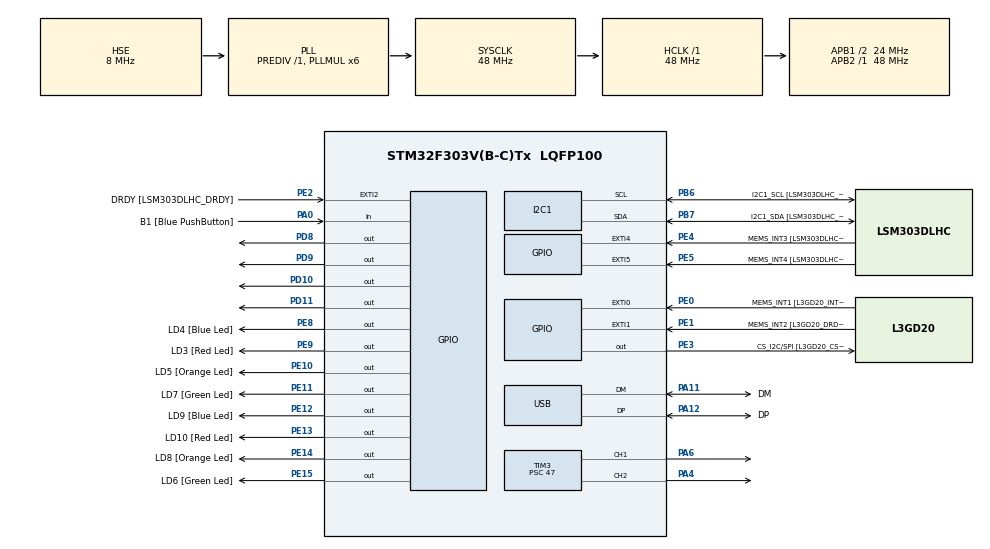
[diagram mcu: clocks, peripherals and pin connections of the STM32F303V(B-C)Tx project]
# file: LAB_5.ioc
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I2C1.Timing=0x2000090E
I2C1.Timing-I2C=0x2000090E
Mcu.Family=STM32F3
Mcu.Name=STM32F303V(B-C)Tx
Mcu.Package=LQFP100
NVIC.PriorityGroup=NVIC_PRIORITYGROUP_0
PA0.GPIO_Label=B1 [Blue PushButton]
PA0.Signal=GPIO_Input
PA11.GPIO_Label=DM
PA11.Mode=Device
PA11.Signal=USB_DM
PA12.GPIO_Label=DP
PA12.Mode=Device
PA12.Signal=USB_DP
PA13.GPIO_Label=SWDIO
PA13.Mode=Serial_Wire
PA13.Signal=SYS_JTMS-SWDIO
PA14.GPIO_Label=SWCLK
PA14.Mode=Serial_Wire
PA14.Signal=SYS_JTCK-SWCLK
PA4.Signal=S_TIM3_CH2
PA5.GPIO_Label=SPI1_SCK [L3GD20_SCL/SPC]
PA5.Signal=SPI1_SCK
PA6.Signal=S_TIM3_CH1
PA7.GPIO_Label=SPI1_MISO [L3GD20_SDA/SDI/SDO]
PA7.Signal=SPI1_MOSI
PB3.GPIO_Label=SWO
PB3.Signal=SYS_JTDO-TRACESWO
PB6.GPIO_Label=I2C1_SCL [LSM303DLHC_SCL]
PB6.GPIO_Pu=GPIO_PULLUP
PB6.Mode=I2C
PB6.Signal=I2C1_SCL
PB7.GPIO_Label=I2C1_SDA [LSM303DLHC_SDA]
PB7.GPIO_Pu=GPIO_PULLUP
PB7.Mode=I2C
PB7.Signal=I2C1_SDA
PC14-OSC32_IN.GPIO_Label=OSC32_IN
PC14-OSC32_IN.Signal=RCC_OSC32_IN
PC15-OSC32_OUT.GPIO_Label=OSC32_OUT
PC15-OSC32_OUT.Signal=RCC_OSC32_OUT
PD10.Signal=GPIO_Output
PD11.Signal=GPIO_Output
PD8.Signal=GPIO_Output
PD9.Signal=GPIO_Output
PE0.GPIO_Label=MEMS_INT1 [L3GD20_INT1]
PE0.GPIO_ModeDefaultEXTI=GPIO_MODE_EVT_RISING
PE0.Signal=GPXTI0
PE1.GPIO_Label=MEMS_INT2 [L3GD20_DRDY/INT2]
PE1.GPIO_ModeDefaultEXTI=GPIO_MODE_EVT_RISING
PE1.Signal=GPXTI1
PE10.GPIO_Label=LD5 [Orange Led]
PE10.Signal=GPIO_Output
PE11.GPIO_Label=LD7 [Green Led]
PE11.Signal=GPIO_Output
PE12.GPIO_Label=LD9 [Blue Led]
PE12.Signal=GPIO_Output
PE13.GPIO_Label=LD10 [Red Led]
PE13.Signal=GPIO_Output
PE14.GPIO_Label=LD8 [Orange Led]
PE14.Signal=GPIO_Output
PE15.GPIO_Label=LD6 [Green Led]
PE15.Signal=GPIO_Output
PE2.GPIO_Label=DRDY [LSM303DLHC_DRDY]
PE2.GPIO_ModeDefaultEXTI=GPIO_MODE_EVT_RISING
PE2.Signal=GPXTI2
PE3.GPIO_Label=CS_I2C/SPI [L3GD20_CS_I2C/SPI]
PE3.Signal=GPIO_Output
PE4.GPIO_Label=MEMS_INT3 [LSM303DLHC_INT1]
PE4.GPIO_ModeDefaultEXTI=GPIO_MODE_EVT_RISING
PE4.Signal=GPXTI4
PE5.GPIO_Label=MEMS_INT4 [LSM303DLHC_INT2]
PE5.GPIO_ModeDefaultEXTI=GPIO_MODE_EVT_RISING
PE5.Signal=GPXTI5
PE8.GPIO_Label=LD4 [Blue Led]
PE8.Signal=GPIO_Output
PE9.GPIO_Label=LD3 [Red Led]
PE9.Signal=GPIO_Output
PF0-OSC_IN.GPIO_Label=OSC_IN
PF0-OSC_IN.Mode=HSE-External-Clock-Source
PF0-OSC_IN.Signal=RCC_OSC_IN
PF1-OSC_OUT.GPIO_Label=OSC_OUT
PF1-OSC_OUT.Signal=RCC_OSC_OUT
ProjectManager.HeapSize=0x200
ProjectManager.StackSize=0x400
ProjectManager.TargetToolchain=CMake
RCC.AHBFreq_Value=48000000
RCC.APB1CLKDivider=RCC_HCLK_DIV2
RCC.APB1Freq_Value=24000000
RCC.APB1TimFreq_Value=48000000
RCC.APB2Freq_Value=48000000
RCC.APB2TimFreq_Value=48000000
RCC.CortexFreq_Value=48000000
RCC.HCLKFreq_Value=48000000
RCC.HSE_VALUE=8000000
RCC.HSI_VALUE=8000000
RCC.LSE_VALUE=32768
RCC.PLLMUL=RCC_PLL_MUL6
RCC.SYSCLKFreq_VALUE=48000000
RCC.SYSCLKSourceVirtual=RCC_SYSCLKSOURCE_PLLCLK
RCC.USBFreq_Value=48000000
SH.S_TIM3_CH1.0=TIM3_CH1,PWM Generation1 CH1
SH.S_TIM3_CH2.0=TIM3_CH2,PWM Generation2 CH2
TIM3.Channel-PWM\ Generation1\ CH1=TIM_CHANNEL_1
TIM3.Channel-PWM\ Generation2\ CH2=TIM_CHANNEL_2
TIM3.Period=999
TIM3.Prescaler=47
TIM3.Pulse-PWM\ Generation1\ CH1=999
TIM3.Pulse-PWM\ Generation2\ CH2=999
board=STM32F3DISCOVERY

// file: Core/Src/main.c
/* USER CODE BEGIN Header */
/**
  ******************************************************************************
  * @file           : main.c
  * @brief          : Main program body
  ******************************************************************************
  * @attention
  *
  * Copyright (c) 2026 STMicroelectronics.
  * All rights reserved.
  *
  * This software is licensed under terms that can be found in the LICENSE file
  * in the root directory of this software component.
  * If no LICENSE file comes with this software, it is provided AS-IS.
  *
  ******************************************************************************
  */
/* USER CODE END Header */
#include "main.h"

I2C_HandleTypeDef hi2c1;

TIM_HandleTypeDef htim3;

PCD_HandleTypeDef hpcd_USB_FS;

/* USER CODE BEGIN PV */
//task1
void SystemClock_Config(void);
static void MX_GPIO_Init(void);
static void MX_I2C1_Init(void);
static void MX_TIM3_Init(void);
static void MX_USB_PCD_Init(void);

//task2
static uint16_t speed_to_ccr(uint8_t speed)
{
  return (uint16_t)((speed * 1000)/255); //gpt says 255
}

static void RightMotor_Forward(uint8_t speed)
{
  HAL_GPIO_WritePin(GPIOD, GPIO_PIN_8, GPIO_PIN_SET);
  HAL_GPIO_WritePin(GPIOD, GPIO_PIN_9, GPIO_PIN_RESET);
  __HAL_TIM_SET_COMPARE(&htim3, TIM_CHANNEL_1, speed_to_ccr(speed));

}

static void RightMotor_Backward(uint8_t speed)
{
  HAL_GPIO_WritePin(GPIOD, GPIO_PIN_8, GPIO_PIN_RESET);
  HAL_GPIO_WritePin(GPIOD, GPIO_PIN_9, GPIO_PIN_SET);
  __HAL_TIM_SET_COMPARE(&htim3, TIM_CHANNEL_1, speed_to_ccr(speed));

}

static void RightMotor_Stop(void)
{
  HAL_GPIO_WritePin(GPIOD, GPIO_PIN_8, GPIO_PIN_SET);
  HAL_GPIO_WritePin(GPIOD, GPIO_PIN_9, GPIO_PIN_SET);
  __HAL_TIM_SET_COMPARE(&htim3, TIM_CHANNEL_1, 0);

}

static void LeftMotor_Forward(uint8_t speed)
{
  HAL_GPIO_WritePin(GPIOD, GPIO_PIN_10, GPIO_PIN_SET);
  HAL_GPIO_WritePin(GPIOD, GPIO_PIN_11, GPIO_PIN_RESET);
  __HAL_TIM_SET_COMPARE(&htim3, TIM_CHANNEL_2, speed_to_ccr(speed));

}

static void LeftMotor_Backward(uint8_t speed)
{
  HAL_GPIO_WritePin(GPIOD, GPIO_PIN_10, GPIO_PIN_RESET);
  HAL_GPIO_WritePin(GPIOD, GPIO_PIN_11, GPIO_PIN_SET);
  __HAL_TIM_SET_COMPARE(&htim3, TIM_CHANNEL_2, speed_to_ccr(speed));

}

static void LeftMotor_Stop(void)
{
  HAL_GPIO_WritePin(GPIOD, GPIO_PIN_10, GPIO_PIN_SET);
  HAL_GPIO_WritePin(GPIOD, GPIO_PIN_11, GPIO_PIN_SET);
  __HAL_TIM_SET_COMPARE(&htim3, TIM_CHANNEL_2, 0);

}

/* USER CODE END PV */

void SystemClock_Config(void);
static void MX_GPIO_Init(void);
static void MX_I2C1_Init(void);
static void MX_TIM3_Init(void);
static void MX_USB_PCD_Init(void);

int main(void)
{

  /* MCU Configuration--------------------------------------------------------*/

  /* Reset of all peripherals, Initializes the Flash interface and the Systick. */
  HAL_Init();

  /* Configure the system clock */
  SystemClock_Config();

  /* Initialize all configured peripherals */
  MX_GPIO_Init();
  MX_I2C1_Init();
  MX_TIM3_Init();
  MX_USB_PCD_Init();
  /* USER CODE BEGIN 2 */
  HAL_TIM_PWM_Start(&htim3, TIM_CHANNEL_1);
  HAL_TIM_PWM_Start(&htim3, TIM_CHANNEL_2);

  /* USER CODE END 2 */

  /* Infinite loop */
  while (1)
  {

    /* USER CODE BEGIN 3 */

    // TASK 1: Breathing LED (Faster 10-step increment)
    // for (uint32_t ccr = 0; ccr <= 999; ccr += 10)
    // {
    // __HAL_TIM_SET_COMPARE(&htim3, TIM_CHANNEL_1, ccr);
    // HAL_Delay(10);
    // }
    // for (uint32_t ccr = 999; ccr > 0; ccr -= 10)
    // {
    // __HAL_TIM_SET_COMPARE(&htim3, TIM_CHANNEL_1, ccr);
    // HAL_Delay(10);
    // }

    //task2:
    RightMotor_Forward(180);
    LeftMotor_Forward(180);
    HAL_Delay(3000);

    RightMotor_Stop();
    LeftMotor_Stop();
    HAL_Delay(1000);

    RightMotor_Backward(180);
    LeftMotor_Backward(180);
    HAL_Delay(3000);

    RightMotor_Stop();
    LeftMotor_Stop();
    HAL_Delay(1000);

    // chal tou jaye
    // HAL_GPIO_WritePin(GPIOD, GPIO_PIN_8, GPIO_PIN_SET);
    // HAL_GPIO_WritePin(GPIOD, GPIO_PIN_9, GPIO_PIN_RESET);

    // __HAL_TIM_SET_COMPARE(&htim3, TIM_CHANNEL_1, 800);

    // HAL_Delay(100);

  }
  /* USER CODE END 3 */
}

void SystemClock_Config(void)
{
  RCC_OscInitTypeDef RCC_OscInitStruct = {0};
  RCC_ClkInitTypeDef RCC_ClkInitStruct = {0};
  RCC_PeriphCLKInitTypeDef PeriphClkInit = {0};

  /** Initializes the RCC Oscillators according to the specified parameters
  * in the RCC_OscInitTypeDef structure.
  */
  RCC_OscInitStruct.OscillatorType = RCC_OSCILLATORTYPE_HSI|RCC_OSCILLATORTYPE_HSE;
  RCC_OscInitStruct.HSEState = RCC_HSE_BYPASS;
  RCC_OscInitStruct.HSEPredivValue = RCC_HSE_PREDIV_DIV1;
  RCC_OscInitStruct.HSIState = RCC_HSI_ON;
  RCC_OscInitStruct.HSICalibrationValue = RCC_HSICALIBRATION_DEFAULT;
  RCC_OscInitStruct.PLL.PLLState = RCC_PLL_ON;
  RCC_OscInitStruct.PLL.PLLSource = RCC_PLLSOURCE_HSE;
  RCC_OscInitStruct.PLL.PLLMUL = RCC_PLL_MUL6;
  if (HAL_RCC_OscConfig(&RCC_OscInitStruct) != HAL_OK)
  {
    Error_Handler();
  }

  /** Initializes the CPU, AHB and APB buses clocks
  */
  RCC_ClkInitStruct.ClockType = RCC_CLOCKTYPE_HCLK|RCC_CLOCKTYPE_SYSCLK
                              |RCC_CLOCKTYPE_PCLK1|RCC_CLOCKTYPE_PCLK2;
  RCC_ClkInitStruct.SYSCLKSource = RCC_SYSCLKSOURCE_PLLCLK;
  RCC_ClkInitStruct.AHBCLKDivider = RCC_SYSCLK_DIV1;
  RCC_ClkInitStruct.APB1CLKDivider = RCC_HCLK_DIV2;
  RCC_ClkInitStruct.APB2CLKDivider = RCC_HCLK_DIV1;

  if (HAL_RCC_ClockConfig(&RCC_ClkInitStruct, FLASH_LATENCY_1) != HAL_OK)
  {
    Error_Handler();
  }
  PeriphClkInit.PeriphClockSelection = RCC_PERIPHCLK_USB|RCC_PERIPHCLK_I2C1;
  PeriphClkInit.I2c1ClockSelection = RCC_I2C1CLKSOURCE_HSI;
  PeriphClkInit.USBClockSelection = RCC_USBCLKSOURCE_PLL;
  if (HAL_RCCEx_PeriphCLKConfig(&PeriphClkInit) != HAL_OK)
  {
    Error_Handler();
  }
}

static void MX_I2C1_Init(void)
{

  hi2c1.Instance = I2C1;
  hi2c1.Init.Timing = 0x2000090E;
  hi2c1.Init.OwnAddress1 = 0;
  hi2c1.Init.AddressingMode = I2C_ADDRESSINGMODE_7BIT;
  hi2c1.Init.DualAddressMode = I2C_DUALADDRESS_DISABLE;
  hi2c1.Init.OwnAddress2 = 0;
  hi2c1.Init.OwnAddress2Masks = I2C_OA2_NOMASK;
  hi2c1.Init.GeneralCallMode = I2C_GENERALCALL_DISABLE;
  hi2c1.Init.NoStretchMode = I2C_NOSTRETCH_DISABLE;
  if (HAL_I2C_Init(&hi2c1) != HAL_OK)
  {
    Error_Handler();
  }

  /** Configure Analogue filter
  */
  if (HAL_I2CEx_ConfigAnalogFilter(&hi2c1, I2C_ANALOGFILTER_ENABLE) != HAL_OK)
  {
    Error_Handler();
  }

  /** Configure Digital filter
  */
  if (HAL_I2CEx_ConfigDigitalFilter(&hi2c1, 0) != HAL_OK)
  {
    Error_Handler();
  }

}

static void MX_TIM3_Init(void)
{

  TIM_MasterConfigTypeDef sMasterConfig = {0};
  TIM_OC_InitTypeDef sConfigOC = {0};

  htim3.Instance = TIM3;
  htim3.Init.Prescaler = 47;
  htim3.Init.CounterMode = TIM_COUNTERMODE_UP;
  htim3.Init.Period = 999;
  htim3.Init.ClockDivision = TIM_CLOCKDIVISION_DIV1;
  htim3.Init.AutoReloadPreload = TIM_AUTORELOAD_PRELOAD_DISABLE;
  if (HAL_TIM_PWM_Init(&htim3) != HAL_OK)
  {
    Error_Handler();
  }
  sMasterConfig.MasterOutputTrigger = TIM_TRGO_RESET;
  sMasterConfig.MasterSlaveMode = TIM_MASTERSLAVEMODE_DISABLE;
  if (HAL_TIMEx_MasterConfigSynchronization(&htim3, &sMasterConfig) != HAL_OK)
  {
    Error_Handler();
  }
  sConfigOC.OCMode = TIM_OCMODE_PWM1;
  sConfigOC.Pulse = 999;
  sConfigOC.OCPolarity = TIM_OCPOLARITY_HIGH;
  sConfigOC.OCFastMode = TIM_OCFAST_DISABLE;
  if (HAL_TIM_PWM_ConfigChannel(&htim3, &sConfigOC, TIM_CHANNEL_1) != HAL_OK)
  {
    Error_Handler();
  }
  if (HAL_TIM_PWM_ConfigChannel(&htim3, &sConfigOC, TIM_CHANNEL_2) != HAL_OK)
  {
    Error_Handler();
  }
  HAL_TIM_MspPostInit(&htim3);

}

static void MX_USB_PCD_Init(void)
{

  hpcd_USB_FS.Instance = USB;
  hpcd_USB_FS.Init.dev_endpoints = 8;
  hpcd_USB_FS.Init.speed = PCD_SPEED_FULL;
  hpcd_USB_FS.Init.phy_itface = PCD_PHY_EMBEDDED;
  hpcd_USB_FS.Init.low_power_enable = DISABLE;
  hpcd_USB_FS.Init.battery_charging_enable = DISABLE;
  if (HAL_PCD_Init(&hpcd_USB_FS) != HAL_OK)
  {
    Error_Handler();
  }

}

static void MX_GPIO_Init(void)
{
  GPIO_InitTypeDef GPIO_InitStruct = {0};

  /* GPIO Ports Clock Enable */
  __HAL_RCC_GPIOE_CLK_ENABLE();
  __HAL_RCC_GPIOC_CLK_ENABLE();
  __HAL_RCC_GPIOF_CLK_ENABLE();
  __HAL_RCC_GPIOA_CLK_ENABLE();
  __HAL_RCC_GPIOD_CLK_ENABLE();
  __HAL_RCC_GPIOB_CLK_ENABLE();

  /*Configure GPIO pin Output Level */
  HAL_GPIO_WritePin(GPIOE, CS_I2C_SPI_Pin|LD4_Pin|LD3_Pin|LD5_Pin
                          |LD7_Pin|LD9_Pin|LD10_Pin|LD8_Pin
                          |LD6_Pin, GPIO_PIN_RESET);

  /*Configure GPIO pin Output Level */
  HAL_GPIO_WritePin(GPIOD, GPIO_PIN_8|GPIO_PIN_9|GPIO_PIN_10|GPIO_PIN_11, GPIO_PIN_RESET);

  /*Configure GPIO pins : DRDY_Pin MEMS_INT3_Pin MEMS_INT4_Pin MEMS_INT1_Pin
                           MEMS_INT2_Pin */
  GPIO_InitStruct.Pin = DRDY_Pin|MEMS_INT3_Pin|MEMS_INT4_Pin|MEMS_INT1_Pin
                          |MEMS_INT2_Pin;
  GPIO_InitStruct.Mode = GPIO_MODE_EVT_RISING;
  GPIO_InitStruct.Pull = GPIO_NOPULL;
  HAL_GPIO_Init(GPIOE, &GPIO_InitStruct);

  /*Configure GPIO pins : CS_I2C_SPI_Pin LD4_Pin LD3_Pin LD5_Pin
                           LD7_Pin LD9_Pin LD10_Pin LD8_Pin
                           LD6_Pin */
  GPIO_InitStruct.Pin = CS_I2C_SPI_Pin|LD4_Pin|LD3_Pin|LD5_Pin
                          |LD7_Pin|LD9_Pin|LD10_Pin|LD8_Pin
                          |LD6_Pin;
  GPIO_InitStruct.Mode = GPIO_MODE_OUTPUT_PP;
  GPIO_InitStruct.Pull = GPIO_NOPULL;
  GPIO_InitStruct.Speed = GPIO_SPEED_FREQ_LOW;
  HAL_GPIO_Init(GPIOE, &GPIO_InitStruct);

  /*Configure GPIO pin : B1_Pin */
  GPIO_InitStruct.Pin = B1_Pin;
  GPIO_InitStruct.Mode = GPIO_MODE_INPUT;
  GPIO_InitStruct.Pull = GPIO_NOPULL;
  HAL_GPIO_Init(B1_GPIO_Port, &GPIO_InitStruct);

  /*Configure GPIO pins : SPI1_SCK_Pin SPI1_MISO_Pin */
  GPIO_InitStruct.Pin = SPI1_SCK_Pin|SPI1_MISO_Pin;
  GPIO_InitStruct.Mode = GPIO_MODE_AF_PP;
  GPIO_InitStruct.Pull = GPIO_NOPULL;
  GPIO_InitStruct.Speed = GPIO_SPEED_FREQ_HIGH;
  GPIO_InitStruct.Alternate = GPIO_AF5_SPI1;
  HAL_GPIO_Init(GPIOA, &GPIO_InitStruct);

  /*Configure GPIO pins : PD8 PD9 PD10 PD11 */
  GPIO_InitStruct.Pin = GPIO_PIN_8|GPIO_PIN_9|GPIO_PIN_10|GPIO_PIN_11;
  GPIO_InitStruct.Mode = GPIO_MODE_OUTPUT_PP;
  GPIO_InitStruct.Pull = GPIO_NOPULL;
  GPIO_InitStruct.Speed = GPIO_SPEED_FREQ_LOW;
  HAL_GPIO_Init(GPIOD, &GPIO_InitStruct);

}

void Error_Handler(void)
{
  __disable_irq();
  while (1)
  {
  }
}
